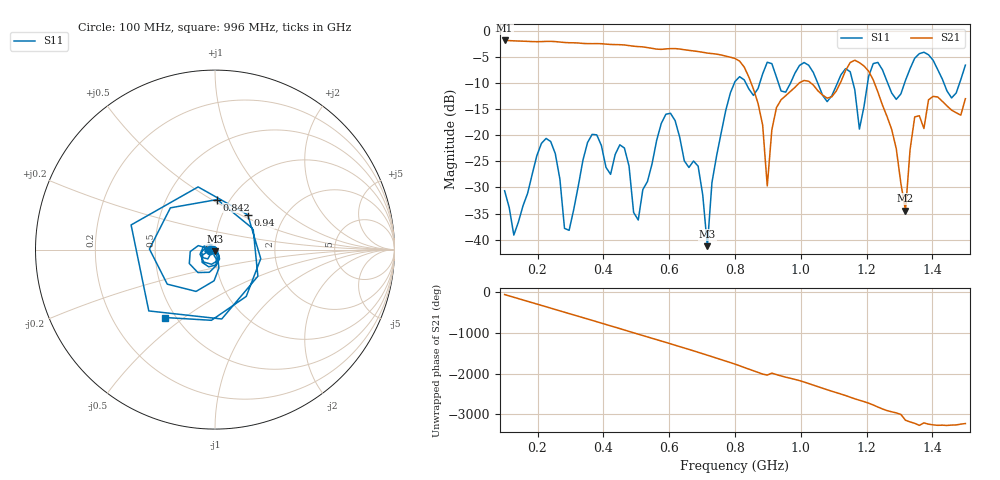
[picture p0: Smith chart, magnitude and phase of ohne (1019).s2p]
! NanoVNA-App
! Date: 2025-09-25 14:28:44
! Start: 100MHz Stop: 1,5GHz Points: 101
! S-Parameter data: F S11 S21 S12 S22
# Hz S RI R 50
!  Frequency  S11_Real  S11_Imag  S21_Real  S21_Imag  S12_Real  S12_Imag  S22_Real  S22_Imag
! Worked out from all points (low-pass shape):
!   101 points, 100 MHz to 1.5 GHz, reference 50 ohm
!   highest |S21| = -1.79 dB at 100 MHz (marker M1); lowest = -34.4 dB at 1.318 GHz (marker M2)
!   |S21| within 3 dB of the highest: start of sweep to 771.4 MHz
!   lowest |S11| = -41.3 dB at 716 MHz (marker M3), VSWR 1.02, Z = 49.8 - j0.844 ohm
!   |S11| at or under -10 dB: start of sweep to 797.9 MHz; 833.2 MHz to 875.1 MHz (41.87 MHz wide, 4.9 % of centre); 1.052 GHz to 1.111 GHz (59.38 MHz wide, 5.49 % of centre) (the widest 3 of 7)
!   S12 and S22 are empty: the file has one direction only
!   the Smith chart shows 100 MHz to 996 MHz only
!   S11 on the Smith chart (normalised r, x): 100 MHz: 0.94, -0.01; 842 MHz: 0.88, +0.53; 940 MHz: 1.32, +0.55; 996 MHz: 0.44, -0.43
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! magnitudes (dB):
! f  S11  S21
! 100 MHz  -30.6  -1.8
! 128 MHz  -39.1  -1.9
! 226 MHz  -20.6  -2.0
! 296 MHz  -38.2  -2.2
! 338 MHz  -24.8  -2.4
! 464 MHz  -22.4  -2.7
! 506 MHz  -36.2  -3.0
! 576 MHz  -17.7  -3.5
! 688 MHz  -25.9  -3.9
! 716 MHz  -41.3  -4.2
! 800 MHz  -9.7  -5.3
! 842 MHz  -11.1  -8.8
! 898 MHz  -6.0  -29.7
! 940 MHz  -11.5  -13.2
! 996 MHz  -6.6  -9.9
! 1.038 GHz  -7.9  -10.4
! 1.178 GHz  -18.8  -6.1
! 1.22 GHz  -6.2  -9.4
! 1.276 GHz  -11.9  -18.9
! 1.318 GHz  -9.5  -34.4
! 1.346 GHz  -5.2  -16.5
! 1.5 GHz  -6.5  -13.0
